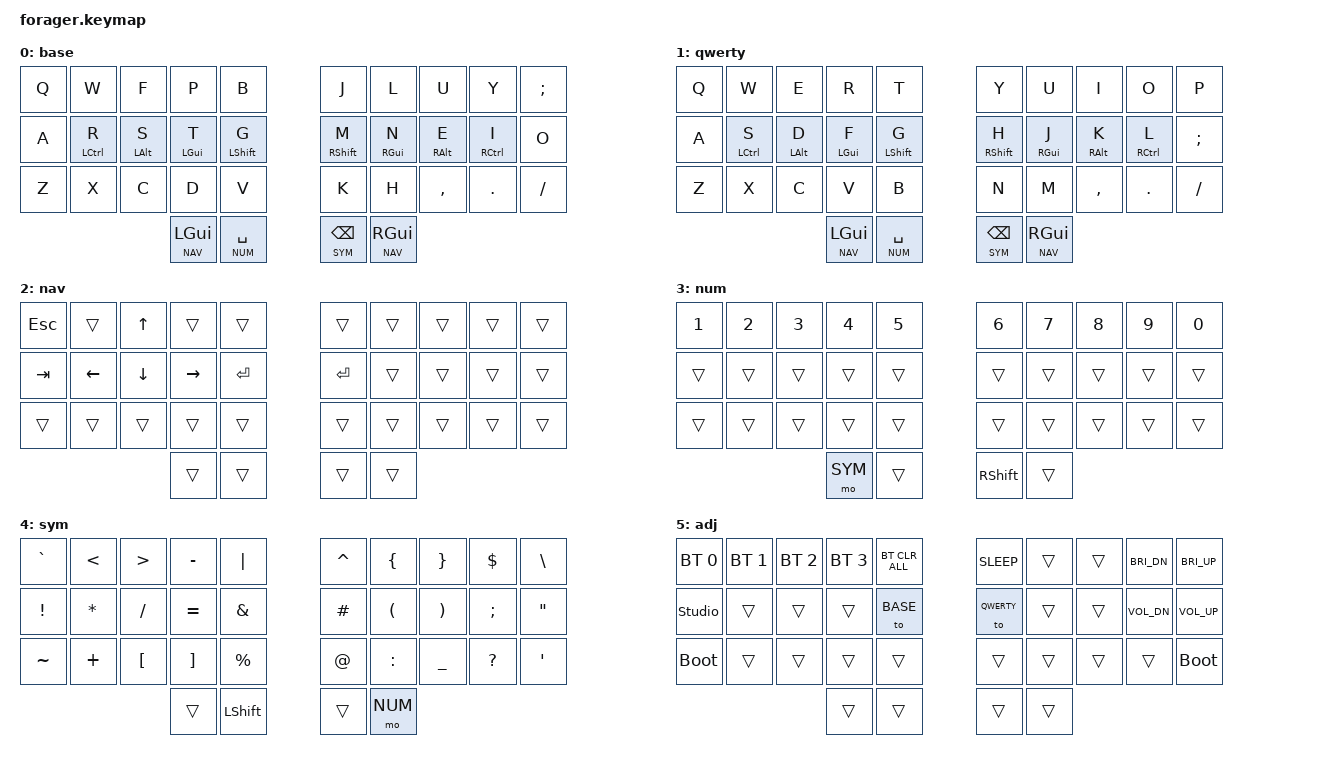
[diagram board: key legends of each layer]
#include <behaviors.dtsi>
#include <dt-bindings/zmk/keys.h>
#include <dt-bindings/zmk/bt.h>
#include <dt-bindings/zmk/outputs.h>

#define BASE    0
#define QWERTY  1
#define NAV     2
#define NUM     3
#define SYM     4
#define ADJ     5

/ {
    behaviors {
        as: auto_shift {
            compatible = "zmk,behavior-hold-tap";
            #binding-cells = <2>;
            tapping-term-ms = <200>;
            require-prior-idle-ms = <100>;
            flavor = "tap-preferred";
            bindings = <&kp>, <&kp>;
        };
        ht: hold_tap {
            compatible = "zmk,behavior-hold-tap";
            #binding-cells = <2>;
            tapping-term-ms = <200>;
            flavor = "balanced";
            bindings = <&kp>, <&kp>;
        };
        sabk: shift_to_alt_backspace {
            compatible = "zmk,behavior-mod-morph";
            #binding-cells = <0>;
            bindings = <&kp BSPC>, <&kp LA(BSPC)>;
            mods = <(MOD_LSFT|MOD_RSFT)>;
        };
        smart_shift: smart_shift {
            compatible = "zmk,behavior-mod-morph";
            #binding-cells = <0>;
            bindings = <&sk LSHFT>, <&caps_word>;
            mods = <(MOD_LSFT|MOD_RSFT)>;
        };
        sym_bspc: left_thumb_hold_tap {
            compatible = "zmk,behavior-hold-tap";
            #binding-cells = <2>;
            flavor = "tap-preferred";
            tapping-term-ms = <150>;
            quick-tap-ms = <200>;
            bindings = <&mo>, <&sabk>;
        };
        lhm: left_homerow_mods {
            compatible = "zmk,behavior-hold-tap";
            #binding-cells = <2>;
            flavor = "balanced";
            tapping-term-ms = <280>;
            quick-tap-ms = <175>;
            require-prior-idle-ms = <150>;
            bindings = <&kp>, <&kp>;
            hold-trigger-key-positions = <5 6 7 8 9 15 16 17 18 19 25 26 27 28 29 30 31 32 33>;
        };
        rhm: right_homerow_mods {
            compatible = "zmk,behavior-hold-tap";
            #binding-cells = <2>;
            flavor = "balanced";
            tapping-term-ms = <280>;
            quick-tap-ms = <175>;
            require-prior-idle-ms = <150>;
            bindings = <&kp>, <&kp>;
            hold-trigger-key-positions = <0 1 2 3 4 10 11 12 13 14 20 21 22 23 24 30 31 32 33>;
        };
    };

    conditional_layers {
        compatible = "zmk,conditional-layers";
        tri_layer {
            if-layers = <3 4>;
            then-layer = <5>;
        };
    };

    keymap {
        compatible = "zmk,keymap";

        base {
            bindings = <
            &kp Q           &kp W           &kp F           &kp P           &kp B                                           &kp J           &kp L           &kp U           &kp Y           &kp SEMI
            &kp A           &lhm LCTRL R    &lhm LALT S     &lhm LGUI T     &lhm LSHIFT G                                   &rhm RSHIFT M   &rhm RGUI N     &rhm RALT E     &rhm RCTRL I    &kp O
            &kp Z           &kp X           &kp C           &kp D           &kp V                                           &kp K           &kp H           &kp COMMA       &kp DOT         &kp FSLH
                                                                            &lt NAV LGUI    &lt NUM SPACE   &lt SYM BSPC    &lt NAV RGUI
            >;
        };

        qwerty {
            bindings = <
            &kp Q           &kp W           &kp E           &kp R           &kp T                                           &kp Y           &kp U           &kp I           &kp O           &kp P
            &kp A           &lhm LCTRL S    &lhm LALT D     &lhm LGUI F     &lhm LSHIFT G                                   &rhm RSHIFT H   &rhm RGUI J     &rhm RALT K     &rhm RCTRL L    &kp SEMI
            &kp Z           &kp X           &kp C           &kp V           &kp B                                           &kp N           &kp M           &kp COMMA       &kp DOT         &kp FSLH
                                                                            &lt NAV LGUI    &lt NUM SPACE   &lt SYM BSPC    &lt NAV RGUI
            >;
        };

        nav {
            bindings = <
            &kp ESC         &trans          &kp UP_ARROW    &trans          &trans                                          &trans          &trans          &trans          &trans          &trans
            &kp TAB         &kp LEFT_ARROW  &kp DOWN_ARROW  &kp RIGHT_ARROW &kp ENTER                                       &kp ENTER       &trans          &trans          &trans          &trans
            &trans          &trans          &trans          &trans          &trans                                          &trans          &trans          &trans          &trans          &trans
                                                                            &trans         &trans          &trans           &trans
            >;
        };

        num {
            bindings = <
            &kp N1          &kp N2          &kp N3          &kp N4          &kp N5                                          &kp N6          &kp N7          &kp N8          &kp N9          &kp N0
            &trans          &trans          &trans          &trans          &trans                                          &trans          &trans          &trans          &trans          &trans
            &trans          &trans          &trans          &trans          &trans                                          &trans          &trans          &trans          &trans          &trans
                                                                            &mo SYM        &trans          &kp RSHIFT       &trans
            >;
        };

        sym {
            bindings = <
            &kp GRAVE       &kp LT          &kp GT          &kp MINUS       &kp PIPE                                        &kp CARET       &kp LBRC        &kp RBRC        &kp DLLR        &kp BSLH
            &kp EXCL        &kp ASTRK       &kp FSLH        &kp EQUAL       &kp AMPS                                        &kp HASH        &kp LPAR        &kp RPAR        &kp SEMI        &kp DQT
            &kp TILDE       &kp PLUS        &kp LBKT        &kp RBKT        &kp PRCNT                                       &kp AT          &kp COLON       &kp UNDER       &kp QMARK       &kp APOS
                                                                            &trans          &kp LSHIFT      &trans          &mo NUM
            >;
        };

        adj {
            bindings = <
            &bt BT_SEL 0    &bt BT_SEL 1    &bt BT_SEL 2    &bt BT_SEL 3    &bt BT_CLR_ALL                                  &kp C_SLEEP     &trans          &trans          &kp C_BRI_DN    &kp C_BRI_UP
            &studio_unlock  &trans          &trans          &trans          &to BASE                                        &to QWERTY      &trans          &trans          &kp C_VOL_DN    &kp C_VOL_UP
            &bootloader     &trans          &trans          &trans          &trans                                          &trans          &trans          &trans          &trans          &bootloader
                                                                            &trans          &trans          &trans          &trans
            >;
        };

    };
};
